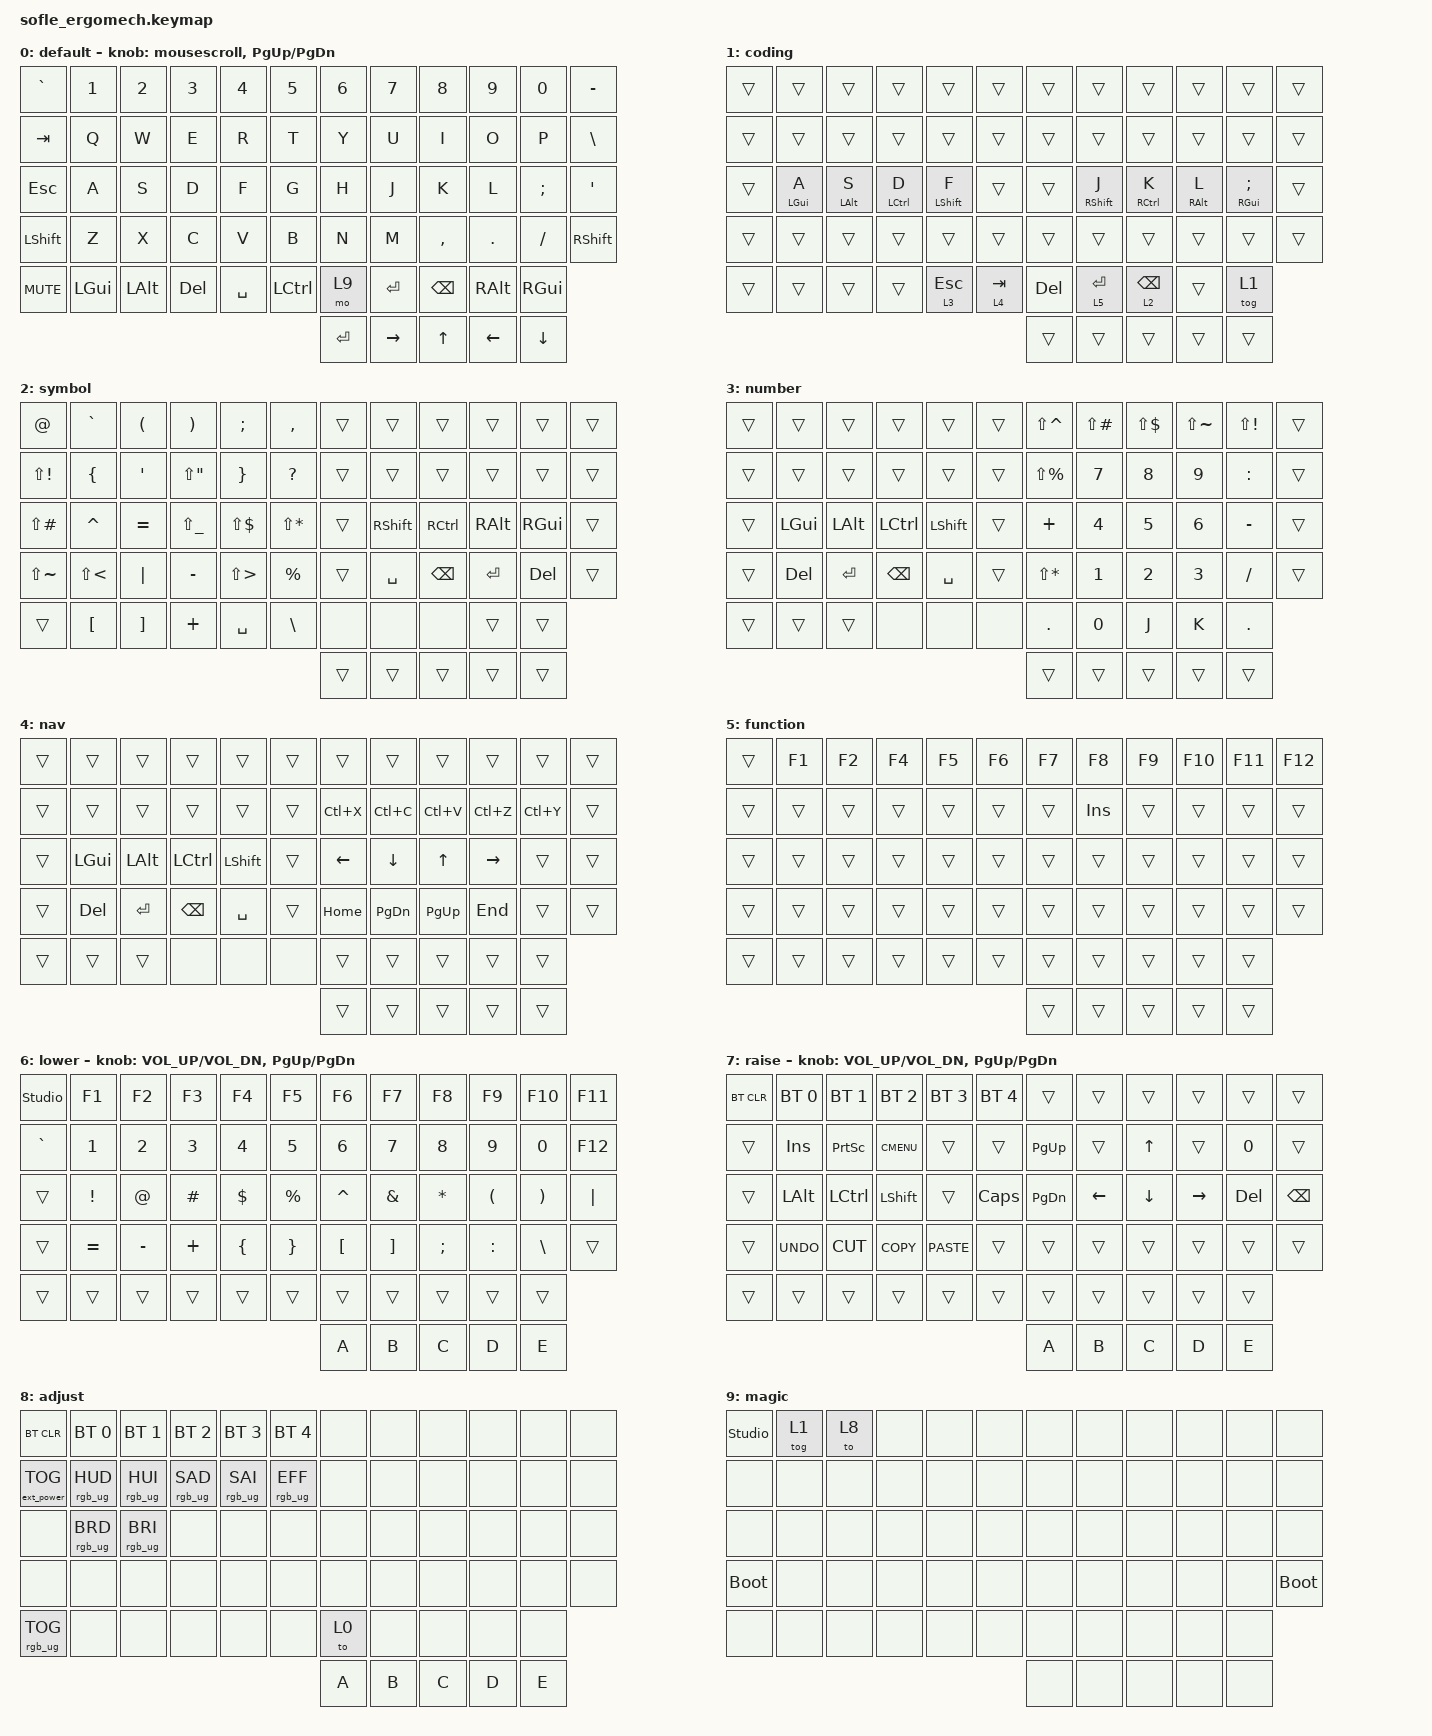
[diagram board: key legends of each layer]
/*
 * Copyright (c) 2020 The ZMK Contributors
 *
 * SPDX-License-Identifier: MIT
 */

#include <dt-bindings/zmk/pointing.h>
#include <behaviors.dtsi>
#include <dt-bindings/zmk/bt.h>
#include <dt-bindings/zmk/ext_power.h>
#include <dt-bindings/zmk/keys.h>
#include <dt-bindings/zmk/rgb.h>

#define BASE 0
#define LOWER 1
#define RAISE 2
#define ADJUST 3

/ {
    // Activate ADJUST layer by pressing raise and lower

    conditional_layers {
        compatible = "zmk,conditional-layers";

        adjust_layer {
            if-layers = <6 7>;
            then-layer = <8>;
        };
    };	
	
	behaviors {
        mousescroll: mousescroll {
            compatible = "zmk,behavior-sensor-rotate";
            #sensor-binding-cells = <0>;
            bindings = <&msc SCRL_DOWN>, <&msc SCRL_UP>;
			tap-ms = <20>;
        };
    };

    keymap {
        compatible = "zmk,keymap";

        default_layer {
            label = "default";

            // ------------------------------------------------------------------------------------------------------------
            // |   `   |  1  |  2  |  3   |  4   |  5   |                   |  6   |  7    |  8    |  9   |   0   |       |
            // |  ESC  |  Q  |  W  |  E   |  R   |  T   |                   |  Y   |  U    |  I    |  O   |   P   | BKSPC |
            // |  TAB  |  A  |  S  |  D   |  F   |  G   |                   |  H   |  J    |  K    |  L   |   ;   |   '   |
            // | SHIFT |  Z  |  X  |  C   |  V   |  B   |  MUTE  |  |       |  N   |  M    |  ,    |  .   |   /   | SHIFT |
            //               | GUI | ALT  | CTRL | LOWER|  ENTER |  | SPACE | RAISE| CTRL  | ALT   | GUI  |

            bindings = <
&kp GRAVE   &kp N1    &kp N2    &kp N3   &kp N4     &kp N5     &kp N6     &kp N7     &kp N8         &kp N9    &kp N0    &kp MINUS
&kp TAB     &kp Q     &kp W     &kp E    &kp R      &kp T      &kp Y      &kp U      &kp I          &kp O     &kp P     &kp BSLH
&kp ESCAPE  &kp A     &kp S     &kp D    &kp F      &kp G      &kp H      &kp J      &kp K          &kp L     &kp SEMI  &kp SQT
&kp LSHFT   &kp Z     &kp X     &kp C    &kp V      &kp B      &kp N      &kp M      &kp COMMA      &kp DOT   &kp FSLH  &kp RSHFT
&kp C_MUTE  &kp LGUI  &kp LALT  &kp DEL  &kp SPACE  &kp LCTRL  &mo 9      &kp ENTER  &kp BACKSPACE  &kp RALT  &kp RGUI
                                                               &kp ENTER  &kp RIGHT  &kp UP_ARROW   &kp LEFT  &kp DOWN
            >;

            sensor-bindings = <&mousescroll &inc_dec_kp PG_UP PG_DN>;
        };

        coding {
            bindings = <
&trans  &trans          &trans      &trans       &trans        &trans     &trans   &trans       &trans           &trans      &trans                   &trans
&trans  &trans          &trans      &trans       &trans        &trans     &trans   &trans       &trans           &trans      &trans                   &trans
&trans  &mt LEFT_GUI A  &mt LALT S  &mt LCTRL D  &mt LSHFT F   &trans     &trans   &mt RSHFT J  &mt RCTRL K      &mt RALT L  &mt RIGHT_GUI SEMICOLON  &trans
&trans  &trans          &trans      &trans       &trans        &trans     &trans   &trans       &trans           &trans      &trans                   &trans
&trans  &trans          &trans      &trans       &lt 3 ESCAPE  &lt 4 TAB  &kp DEL  &lt 5 ENTER  &lt 2 BACKSPACE  &trans      &tog 1
                                                                          &trans   &trans       &trans           &trans      &trans
            >;

            label = "coding";
        };

        symbol {
            bindings = <
&kp AT         &kp GRAVE   &kp LPAR   &kp RPAR       &kp SEMICOLON  &kp COMMA     &trans  &trans     &trans     &trans     &trans    &trans
&kp LS(EXCL)   &kp LBRC    &kp SQT    &kp LS(DQT)    &kp RBRC       &kp QMARK     &trans  &trans     &trans     &trans     &trans    &trans
&kp LS(POUND)  &kp CARET   &kp EQUAL  &kp LS(UNDER)  &kp LS(DLLR)   &kp LS(STAR)  &trans  &kp RSHFT  &kp RCTRL  &kp RALT   &kp RGUI  &trans
&kp LS(TILDE)  &kp LS(LT)  &kp PIPE   &kp MINUS      &kp LS(GT)     &kp PERCENT   &trans  &kp SPACE  &kp BSPC   &kp ENTER  &kp DEL   &trans
&trans         &kp LBKT    &kp RBKT   &kp PLUS       &kp SPACE      &kp BSLH      &none   &none      &none      &trans     &trans
                                                                                  &trans  &trans     &trans     &trans     &trans
            >;

            label = "symbol";
        };

        num {
            bindings = <
&trans  &trans    &trans     &trans     &trans     &trans  &kp LS(CARET)  &kp LS(POUND)  &kp LS(DLLR)  &kp LS(TILDE)  &kp LS(EXCL)  &trans
&trans  &trans    &trans     &trans     &trans     &trans  &kp LS(PRCNT)  &kp N7         &kp N8        &kp N9         &kp COLON     &trans
&trans  &kp LGUI  &kp LALT   &kp LCTRL  &kp LSHFT  &trans  &kp PLUS       &kp N4         &kp N5        &kp N6         &kp MINUS     &trans
&trans  &kp DEL   &kp ENTER  &kp BSPC   &kp SPACE  &trans  &kp LS(STAR)   &kp N1         &kp N2        &kp N3         &kp FSLH      &trans
&trans  &trans    &trans     &none      &none      &none   &kp DOT        &kp N0         &kp J         &kp K          &kp PERIOD
                                                           &trans         &trans         &trans        &trans         &trans
            >;

            label = "number";
        };

        nav {
            bindings = <
&trans  &trans      &trans     &trans     &trans     &trans  &trans     &trans          &trans        &trans           &trans     &trans
&trans  &trans      &trans     &trans     &trans     &trans  &kp LC(X)  &kp LC(C)       &kp LC(V)     &kp LC(Z)        &kp LC(Y)  &trans
&trans  &kp LGUI    &kp LALT   &kp LCTRL  &kp LSHFT  &trans  &kp LEFT   &kp DOWN_ARROW  &kp UP_ARROW  &kp RIGHT_ARROW  &trans     &trans
&trans  &kp DELETE  &kp ENTER  &kp BSPC   &kp SPACE  &trans  &kp HOME   &kp PAGE_DOWN   &kp PAGE_UP   &kp END          &trans     &trans
&trans  &trans      &trans     &none      &none      &none   &trans     &trans          &trans        &trans           &trans
                                                             &trans     &trans          &trans        &trans           &trans
            >;

            label = "nav";
        };

        function {
            bindings = <
&trans  &kp F1  &kp F2  &kp F4  &kp F5  &kp F6  &kp F7  &kp F8   &kp F9  &kp F10  &kp F11  &kp F12
&trans  &trans  &trans  &trans  &trans  &trans  &trans  &kp INS  &trans  &trans   &trans   &trans
&trans  &trans  &trans  &trans  &trans  &trans  &trans  &trans   &trans  &trans   &trans   &trans
&trans  &trans  &trans  &trans  &trans  &trans  &trans  &trans   &trans  &trans   &trans   &trans
&trans  &trans  &trans  &trans  &trans  &trans  &trans  &trans   &trans  &trans   &trans
                                                &trans  &trans   &trans  &trans   &trans
            >;

            label = "function";
        };

        lower_layer {
            label = "lower";

            // TODO: Some binds are waiting for shifted keycode support.
            // ------------------------------------------------------------------------------------------------------------
            // |       |  F1 |  F2 |  F3  |  F4  |  F5  |                   |  F6  |  F7   |  F8   |  F9  |  F10  |  F11  |
            // |   `   |  1  |  2  |  3   |  4   |  5   |                   |  6   |  7    |  8    |  9   |   0   |  F12  |
            // |       |  !  |  @  |  #   |  $   |  %   |                   |  ^   |  &    |  *    |  (   |   )   |   |   |
            // |       |  =  |  -  |  +   |  {   |  }   |        |  |       |  [   |  ]    |  ;    |  :   |   \   |       |
            //               |     |      |      |      |        |  |       |      |       |       |      |

            bindings = <
&studio_unlock  &kp F1     &kp F2     &kp F3    &kp F4    &kp F5     &kp F6     &kp F7    &kp F8     &kp F9     &kp F10   &kp F11
&kp GRAVE       &kp N1     &kp N2     &kp N3    &kp N4    &kp N5     &kp N6     &kp N7    &kp N8     &kp N9     &kp N0    &kp F12
&trans          &kp EXCL   &kp AT     &kp HASH  &kp DLLR  &kp PRCNT  &kp CARET  &kp AMPS  &kp ASTRK  &kp LPAR   &kp RPAR  &kp PIPE
&trans          &kp EQUAL  &kp MINUS  &kp PLUS  &kp LBRC  &kp RBRC   &kp LBKT   &kp RBKT  &kp SEMI   &kp COLON  &kp BSLH  &trans
&trans          &trans     &trans     &trans    &trans    &trans     &trans     &trans    &trans     &trans     &trans
                                                                     &kp A      &kp B     &kp C      &kp D      &kp E
            >;

            sensor-bindings = <&inc_dec_kp C_VOL_UP C_VOL_DN &inc_dec_kp PG_UP PG_DN>;
        };

        raise_layer {
            label = "raise";

            // ------------------------------------------------------------------------------------------------------------
            // | BTCLR | BT1  | BT2  |  BT3  |  BT4  |  BT5 |                |      |      |       |      |       |       |
            // |       | INS  | PSCR | GUI   |       |      |                | PGUP |      |   ^   |      |       |       |
            // |       | ALT  | CTRL | SHIFT |       | CAPS |                | PGDN |   <- |   v   |  ->  |  DEL  | BKSPC |
            // |       | UNDO | CUT  | COPY  | PASTE |      |      |  |      |      |      |       |      |       |       |
            //                |      |       |       |      |      |  |      |      |      |       |      |

            bindings = <
&bt BT_CLR  &bt BT_SEL 0  &bt BT_SEL 1  &bt BT_SEL 2  &bt BT_SEL 3  &bt BT_SEL 4  &trans     &trans    &trans    &trans     &trans   &trans
&trans      &kp INS       &kp PSCRN     &kp K_CMENU   &trans        &trans        &kp PG_UP  &trans    &kp UP    &trans     &kp N0   &trans
&trans      &kp LALT      &kp LCTRL     &kp LSHFT     &trans        &kp CLCK      &kp PG_DN  &kp LEFT  &kp DOWN  &kp RIGHT  &kp DEL  &kp BSPC
&trans      &kp K_UNDO    &kp K_CUT     &kp K_COPY    &kp K_PASTE   &trans        &trans     &trans    &trans    &trans     &trans   &trans
&trans      &trans        &trans        &trans        &trans        &trans        &trans     &trans    &trans    &trans     &trans
                                                                                  &kp A      &kp B     &kp C     &kp D      &kp E
            >;

            sensor-bindings = <&inc_dec_kp C_VOL_UP C_VOL_DN &inc_dec_kp PG_UP PG_DN>;
        };

        adjust_layer {
            // ----------------------------------------------------------------------------------------------------------------------------
            // | BTCLR  |  BT1    |  BT2    |   BT3   |   BT4   |   BT5   |                  |      |      |       |      |       |       |
            // | EXTPWR | RGB_HUD | RGB_HUI | RGB_SAD | RGB_SAI | RGB_EFF |                  |      |      |       |      |       |       |
            // |        | RGB_BRD | RGB_BRI |         |         |         |                  |      |      |       |      |       |       |
            // |        |         |         |         |         |         | RGB_TOG | |      |      |      |       |      |       |       |
            //                    |         |         |         |         |         | |      |      |      |       |      |

            label = "adjust";
            bindings = <
&bt BT_CLR         &bt BT_SEL 0     &bt BT_SEL 1     &bt BT_SEL 2     &bt BT_SEL 3     &bt BT_SEL 4     &none  &none  &none  &none  &none  &none
&ext_power EP_TOG  &rgb_ug RGB_HUD  &rgb_ug RGB_HUI  &rgb_ug RGB_SAD  &rgb_ug RGB_SAI  &rgb_ug RGB_EFF  &none  &none  &none  &none  &none  &none
&none              &rgb_ug RGB_BRD  &rgb_ug RGB_BRI  &none            &none            &none            &none  &none  &none  &none  &none  &none
&none              &none            &none            &none            &none            &none            &none  &none  &none  &none  &none  &none
&rgb_ug RGB_TOG    &none            &none            &none            &none            &none            &to 0  &none  &none  &none  &none
                                                                                                        &kp A  &kp B  &kp C  &kp D  &kp E
            >;
        };

        magic {
            bindings = <
&studio_unlock  &tog 1  &to 8  &none  &none  &none  &none  &none  &none  &none  &none  &none
&none           &none   &none  &none  &none  &none  &none  &none  &none  &none  &none  &none
&none           &none   &none  &none  &none  &none  &none  &none  &none  &none  &none  &none
&bootloader     &none   &none  &none  &none  &none  &none  &none  &none  &none  &none  &bootloader
&none           &none   &none  &none  &none  &none  &none  &none  &none  &none  &none
                                                    &none  &none  &none  &none  &none
            >;

            label = "magic";
        };
    };
};
